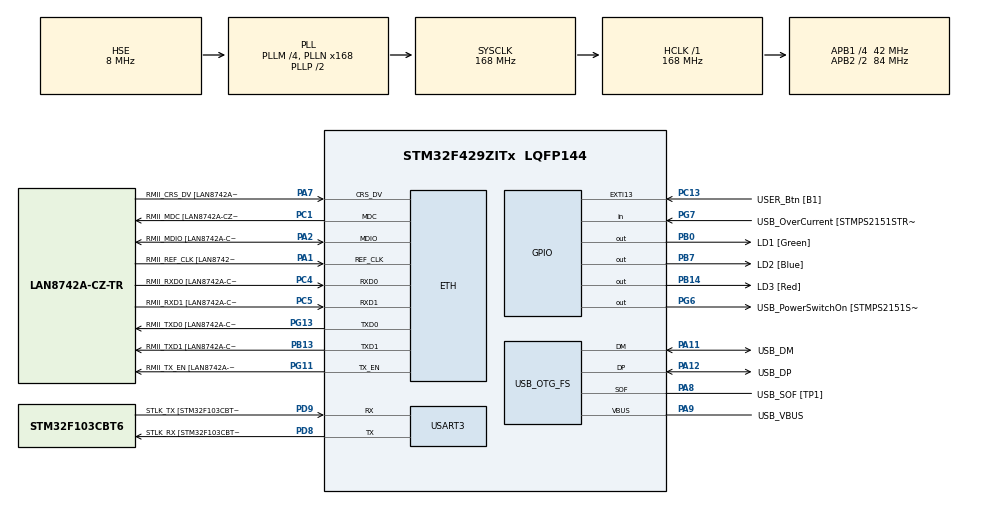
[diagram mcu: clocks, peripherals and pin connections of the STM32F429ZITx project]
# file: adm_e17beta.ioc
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ETH.MediaInterface=HAL_ETH_RMII_MODE
ETH.PHY_Name=LAN8742A_PHY_ADDRESS
ETH.PHY_Value=0
ETH.PhyAddress=0
Mcu.Family=STM32F4
Mcu.Name=STM32F429ZITx
Mcu.Package=LQFP144
NVIC.PriorityGroup=NVIC_PRIORITYGROUP_4
PA1.GPIO_Label=RMII_REF_CLK [LAN8742A-CZ-TR_REFCLK0]
PA1.Mode=RMII
PA1.Signal=ETH_REF_CLK
PA10.GPIO_Label=USB_ID
PA10.Signal=USB_OTG_FS_ID
PA11.GPIO_Label=USB_DM
PA11.Mode=Device_Only
PA11.Signal=USB_OTG_FS_DM
PA12.GPIO_Label=USB_DP
PA12.Mode=Device_Only
PA12.Signal=USB_OTG_FS_DP
PA13.GPIO_Label=TMS
PA13.Mode=Serial_Wire
PA13.Signal=SYS_JTMS-SWDIO
PA14.GPIO_Label=TCK
PA14.Mode=Serial_Wire
PA14.Signal=SYS_JTCK-SWCLK
PA2.GPIO_Label=RMII_MDIO [LAN8742A-CZ-TR_MDIO]
PA2.Mode=RMII
PA2.Signal=ETH_MDIO
PA7.GPIO_Label=RMII_CRS_DV [LAN8742A-CZ-TR_CRS_DV]
PA7.Mode=RMII
PA7.Signal=ETH_CRS_DV
PA8.GPIO_Label=USB_SOF [TP1]
PA8.Mode=Activate_SOF_FS
PA8.Signal=USB_OTG_FS_SOF
PA9.GPIO_Label=USB_VBUS
PA9.Mode=Activate_VBUS
PA9.Signal=USB_OTG_FS_VBUS
PB0.GPIO_Label=LD1 [Green]
PB0.Signal=GPIO_Output
PB13.GPIO_Label=RMII_TXD1 [LAN8742A-CZ-TR_TXD1]
PB13.Mode=RMII
PB13.Signal=ETH_TXD1
PB14.GPIO_Label=LD3 [Red]
PB14.Signal=GPIO_Output
PB7.GPIO_Label=LD2 [Blue]
PB7.Signal=GPIO_Output
PC1.GPIO_Label=RMII_MDC [LAN8742A-CZ-TR_MDC]
PC1.Mode=RMII
PC1.Signal=ETH_MDC
PC13.GPIO_Label=USER_Btn [B1]
PC13.Signal=GPXTI13
PC14/OSC32_IN.Mode=LSE-External-Oscillator
PC14/OSC32_IN.Signal=RCC_OSC32_IN
PC15/OSC32_OUT.Mode=LSE-External-Oscillator
PC15/OSC32_OUT.Signal=RCC_OSC32_OUT
PC4.GPIO_Label=RMII_RXD0 [LAN8742A-CZ-TR_RXD0]
PC4.Mode=RMII
PC4.Signal=ETH_RXD0
PC5.GPIO_Label=RMII_RXD1 [LAN8742A-CZ-TR_RXD1]
PC5.Mode=RMII
PC5.Signal=ETH_RXD1
PD8.GPIO_Label=STLK_RX [STM32F103CBT6_PA3]
PD8.Mode=Asynchronous
PD8.Signal=USART3_TX
PD9.GPIO_Label=STLK_TX [STM32F103CBT6_PA2]
PD9.Mode=Asynchronous
PD9.Signal=USART3_RX
PG11.GPIO_Label=RMII_TX_EN [LAN8742A-CZ-TR_TXEN]
PG11.Mode=RMII
PG11.Signal=ETH_TX_EN
PG13.GPIO_Label=RMII_TXD0 [LAN8742A-CZ-TR_TXD0]
PG13.Mode=RMII
PG13.Signal=ETH_TXD0
PG6.GPIO_Label=USB_PowerSwitchOn [STMPS2151STR_EN]
PG6.Signal=GPIO_Output
PG7.GPIO_Label=USB_OverCurrent [STMPS2151STR_FAULT]
PG7.Signal=GPIO_Input
PH0/OSC_IN.GPIO_Label=MCO [STM32F103CBT6_PA8]
PH0/OSC_IN.Mode=HSE-External-Clock-Source
PH0/OSC_IN.Signal=RCC_OSC_IN
PH1/OSC_OUT.Mode=HSE-External-Clock-Source
PH1/OSC_OUT.Signal=RCC_OSC_OUT
ProjectManager.HeapSize=0x200
ProjectManager.StackSize=0x400
ProjectManager.TargetToolchain=STM32CubeIDE
RCC.48MHZClocksFreq_Value=48000000
RCC.AHBFreq_Value=168000000
RCC.APB1CLKDivider=RCC_HCLK_DIV4
RCC.APB1Freq_Value=42000000
RCC.APB1TimFreq_Value=84000000
RCC.APB2CLKDivider=RCC_HCLK_DIV2
RCC.APB2Freq_Value=84000000
RCC.APB2TimCLKDivider=2
RCC.APB2TimFreq_Value=168000000
RCC.CortexFreq_Value=168000000
RCC.HCLKFreq_Value=168000000
RCC.HSE_VALUE=8000000
RCC.HSI_VALUE=16000000
RCC.PLLM=4
RCC.PLLMUL=RCC_PLL_MUL9
RCC.PLLN=168
RCC.PLLQ=7
RCC.PRESCALERUSB=RCC_USBCLKSOURCE_PLL_DIV1_5
RCC.SYSCLKFreq_VALUE=168000000
RCC.SYSCLKSource=RCC_SYSCLKSOURCE_PLLCLK
RCC.SYSCLKSourceVirtual=RCC_SYSCLKSOURCE_PLLCLK
RCC.USBFreq_Value=48000000
RCC.VCOOutputFreq_Value=336000000
USART3.VirtualMode=VM_ASYNC
USB_OTG_FS.VirtualMode=Device_Only
board=NUCLEO-F429ZI

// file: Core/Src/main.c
/* USER CODE BEGIN Header */
/**
  ******************************************************************************
  * @file           : main.c
  * @brief          : Main program body
  ******************************************************************************
  * @attention
  *
  * Copyright (c) 2022 STMicroelectronics.
  * All rights reserved.
  *
  * This software is licensed under terms that can be found in the LICENSE file
  * in the root directory of this software component.
  * If no LICENSE file comes with this software, it is provided AS-IS.
  *
  ******************************************************************************
  */
/* USER CODE END Header */
#include "main.h"
#include "string.h"

/* USER CODE BEGIN Includes */
#include "asm_func.h"
/* USER CODE END Includes */

ETH_TxPacketConfig TxConfig;
ETH_DMADescTypeDef  DMARxDscrTab[ETH_RX_DESC_CNT]; /* Ethernet Rx DMA Descriptors */
ETH_DMADescTypeDef  DMATxDscrTab[ETH_TX_DESC_CNT]; /* Ethernet Tx DMA Descriptors */

 ETH_HandleTypeDef heth;

UART_HandleTypeDef huart3;

PCD_HandleTypeDef hpcd_USB_OTG_FS;

void SystemClock_Config(void);
static void MX_GPIO_Init(void);
static void MX_ETH_Init(void);
static void MX_USART3_UART_Init(void);
static void MX_USB_OTG_FS_PCD_Init(void);

/* USER CODE BEGIN 0 */
static void PrivilegiosSVC (void)
{
    // Obtiene valor del registro de 32 bits del procesador llamado "control".
    // El registro guarda los siguientes estados:
    // bit 2: Uso de FPU en el contexto actual. Usado=1, no usado=0.
    // bit 1: Mapeo del stack pointer(sp). MSP=0, PSP=1.
    // bit 0: Modo de ejecucion en Thread. Privilegiado=0, No privilegiado=1.
    //        Recordar que este valor solo se usa en modo Thread. Las
    //        interrupciones siempre se ejecutan en modo Handler con total
    //        privilegio.
    uint32_t x = __get_CONTROL ();

    // Actividad de debug: Ver registro "control" y valor de variable "x".
    //__BKPT (0);

    x |= 1;
    // bit 0 a modo No privilegiado.
    __set_CONTROL (x);

    // En este punto se estaria ejecutando en modo No privilegiado.
    // Lectura del registro "control" para confirmar.
    x = __get_CONTROL ();

    // Actividad de debug: Ver registro "control" y valor de variable "x".
    //__BKPT (0);

    x &= ~1u;
    // Se intenta volver a modo Privilegiado (bit 0, valor 0).
    __set_CONTROL (x);

    // Confirma que esta operacion es ignorada por estar ejecutandose en modo
    // Thread no privilegiado.
    x = __get_CONTROL ();

    // Actividad de debug: Ver registro "control" y valor de variable "x".
    //__BKPT (0);

    // En este punto, ejecutando en modo Thread no privilegiado, la unica forma
    // de volver a modo privilegiado o de realizar cualquier cambio que requiera
    // modo privilegiado, es pidiendo ese servicio a un hipotetico sistema
    // opertivo de tiempo real.
    // Para esto se invoca por software a la interrupcion SVC (Supervisor Call)
    // utilizando la instruccion "svc".
    // No hay intrinsics para realizar esta tarea. Para utilizar la instruccion
    // es necesario implementar una funcion en assembler. Ver el archivo
    // asm_func.S.
    asm_svc ();

    // El sistema operativo (el handler de SVC) deberia haber devuelto el modo
    // de ejecucion de Thread a privilegiado (bit 0 en valor 0).
    x = __get_CONTROL ();

    // Fin del ejemplo de SVC
}
/* USER CODE END 0 */

int main(void)
{

  /* MCU Configuration--------------------------------------------------------*/

  /* Reset of all peripherals, Initializes the Flash interface and the Systick. */
  HAL_Init();

  /* Configure the system clock */
  SystemClock_Config();

  /* Initialize all configured peripherals */
  MX_GPIO_Init();
  MX_ETH_Init();
  MX_USART3_UART_Init();
  MX_USB_OTG_FS_PCD_Init();
  /* USER CODE BEGIN 2 */
  PrivilegiosSVC ();

  #if (EJERCICIO_1 == 1 || EJERCICIO_2 == 1 || EJERCICIO_3 == 1 || EJERCICIO_4 == 1)
	//Variables ejercicios 1,2,3 y 4
	uint32_t vector32Zeros[] ={9,7,5};
	uint32_t vector32In[] ={3,4,0xAB123456};
	uint32_t vector32Out[]={0,0,0};
	//uint16_t vector16In[] ={0x0100,0x4000,0xAB12};
	uint16_t vector16In[] ={3,4,0xAB12};
	uint16_t vector16Out[]={0,0,0};
	uint32_t escalar32 = 4;
	uint16_t escalar16 = 4;
  #endif

  #if (EJERCICIO_0 == 1)
	const uint32_t Resultado = asm_sum (5, 3);
  #endif

  #if (EJERCICIO_1 == 1)
	//Ejercicio 1
	//Realizar una función que inicialice un vector con ceros.
	//Ejercicio en C
	zeros (vector32Zeros, (sizeof(vector32Zeros)/sizeof(vector32Zeros[0])));
	//Ejercicio en Assembly
	vector32Zeros[0] =8;
	vector32Zeros[1] =16;
	vector32Zeros[2] =32;
	asm_zeros (vector32Zeros, (sizeof(vector32Zeros)/sizeof(vector32Zeros[0])));
  #endif

  #if (EJERCICIO_2 == 1)
	//Ejercicio 2
	//Realizar una función que realice el producto de un vector y un escalar
	//(por ejemplo, podría servir para cambiar el nivel de amplitud de una señal).
	//Ejercicio en C
	vector32Out[0] =0;
	vector32Out[1] =0;
	vector32Out[2] =0;
	productoEscalar32 (vector32In, vector32Out, (sizeof(vector32In)/sizeof(vector32In[0])), escalar32);
	//Ejercicio en Assembly
	vector32Out[0] =0;
	vector32Out[1] =0;
	vector32Out[2] =0;
	asm_productoEscalar32 (vector32In, vector32Out, (sizeof(vector32In)/sizeof(vector32In[0])), escalar32);
  #endif

  #if (EJERCICIO_3 == 1)
	//Ejercicio 3
	//Adapte la función del ejercicio 2 para realizar operaciones sobre vectores de 16 bits
	//Ejercicio  en C
	vector16Out[0] =0;
	vector16Out[1] =0;
	vector16Out[2] =0;
	productoEscalar16 (vector16In, vector16Out, (sizeof(vector16In)/sizeof(vector16In[0])), escalar16);
	//Ejercicio en Assembly
	vector16Out[0] =0;
	vector16Out[1] =0;
	vector16Out[2] =0;
	asm_productoEscalar16 (vector16In, vector16Out, (sizeof(vector16In)/sizeof(vector16In[0])), escalar16);
  #endif

  #if (EJERCICIO_4 == 1)
	//Ejercicio 4
	//Adapte la función del ejercicio 3 para saturar el resultado del producto a 12 bits
	//Ejercicio en C
	vector16Out[0] =0;
	vector16Out[1] =0;
	vector16Out[2] =0;
	productoEscalar12 (vector16In, vector16Out, (sizeof(vector16In)/sizeof(vector16In[0])), escalar16);
	//Ejercicio en Assembly
	vector16Out[0] =0;
	vector16Out[1] =0;
	vector16Out[2] =0;
	asm_productoEscalar12 (vector16In, vector16Out, (sizeof(vector16In)/sizeof(vector16In[0])), escalar16);
  #endif

  #if (EJERCICIO_5 == 1)
	//Ejercicio 5
	//Un filtro de ventana móvil de 10 valores sobre un vector de muestras.
	//Ejercicio en C
	uint16_t vectorIn_5[] = {1,1,1,1,1,1,1,1,1,2,2,2,2,2,3,3,3,3,3,100,100,100,0,0,0,0,5,5,5,5};
	uint16_t vectorOut_5[] = {0,0,0,0,0,0,0,0,0,0 , 0,0,0,0,0,0,0,0,0,0  , 0,0,0,0,0,0,0,0,0,0};
	uint16_t vectorOut_5_asm[] = {0,0,0,0,0,0,0,0,0,0 , 0,0,0,0,0,0,0,0,0,0  , 0,0,0,0,0,0,0,0,0,0};
	filtroVentana10(vectorIn_5, vectorOut_5, (sizeof(vectorIn_5)/sizeof(vectorIn_5[0])));
	//Ejercicio en Assembly
	asm_filtroVentana10(vectorIn_5, vectorOut_5_asm, (sizeof(vectorIn_5)/sizeof(vectorIn_5[0])));
  #endif

  #if (EJERCICIO_6 == 1)
	//Ejercicio 6
	//Recibe un vector de números signados de 32 bits y los “empaqueta” en
	//otro vector de 16 bits. Adecua los valores de entrada a la nueva precisión.
	//Ejercicio en C
	int32_t vectorIn_6[] = {0x12345678,0x0080FFFF, 0x80000000, 0xFFFFFFFF};
	int16_t vectorOut_6[] = {0x0000,0x0000, 0x0000, 0x0000};
	pack32to16 (vectorIn_6, vectorOut_6, (sizeof(vectorIn_6)/sizeof(vectorIn_6[0])));
	//Ejercicio en Assembly
	vectorOut_6[0] = 0x0000;
	vectorOut_6[1] = 0x0000;
	vectorOut_6[2] = 0x0000;
	vectorOut_6[3] = 0x0000;
	asm_pack32to16 (vectorIn_6, vectorOut_6, (sizeof(vectorIn_6)/sizeof(vectorIn_6[0])));
  #endif

  #if (EJERCICIO_7 == 1)
	//Ejercicio 7
	//Recibe un vector de números signados de 32 bits y devuelve la posición
	//del máximo del vector.
	//Ejercicio en C
	int32_t vectorIn_7[] = {4,2,1,5,6,2,3,2,3,2,1};
	int32_t ind_maximo_7;
	ind_maximo_7 = max(vectorIn_7, (sizeof(vectorIn_7)/sizeof(vectorIn_7[0])));
	//Ejercicio en Assembly
	ind_maximo_7 = 0;
	ind_maximo_7 = asm_max(vectorIn_7, (sizeof(vectorIn_7)/sizeof(vectorIn_7[0])));
  #endif

  #if (EJERCICIO_8 == 1)
	//Ejercicio 8
	//Recibe un vector de muestras signadas de 32 bits y lo decime
	//descartando una cada N muestras.
	//Ejercicio en C
	int32_t vectorIn_8[] = {1,0,0,2,0,0,3,0,0,4,0,0,5,0,0,6,0,0,7,0,0,8,0,0,9,0,0,10,0,0,11};
	int32_t vectorOut_8[] = {0,0,0,0,0,0,0,0,0,0 , 0,0,0,0,0,0,0,0,0,0  , 0,0,0,0,0,0,0,0,0,0};
	int32_t vectorOut_8_asm[] = {0,0,0,0,0,0,0,0,0,0 , 0,0,0,0,0,0,0,0,0,0  , 0,0,0,0,0,0,0,0,0,0};
	downsampleM (vectorIn_8, vectorOut_8, (sizeof(vectorIn_8)/sizeof(vectorIn_8[0])), 3);
	//Ejercicio en Assembly
	asm_downsampleM (vectorIn_8, vectorOut_8_asm, (sizeof(vectorIn_8)/sizeof(vectorIn_8[0])), 3);
  #endif

  #if (EJERCICIO_9 == 1)
	//Ejercicio 9
	//Recibe un vector de muestras no signadas de 16 bits e invierte su orden.
	//Ejercicio en C
	uint16_t vectorIn_9[] = {0,1,2,3,4,5,6,7,8,9,10,11,12,13};
	invertir (vectorIn_9, (sizeof(vectorIn_9)/sizeof(vectorIn_9[0])));
	//Ejercicio en Assembly
	asm_invertir (vectorIn_9, (sizeof(vectorIn_9)/sizeof(vectorIn_9[0])));
  #endif

  #if (EJERCICIO_11 == 1)
	//Ejercicio 11
	//Calcula la correlación entre dos vectores.

	int16_t vectorX[] = {1,2,3,4,5,6,7,8};
	int16_t vectorY[] = {1,2,3,4,1,2,3,4};

	uint32_t longitud = (sizeof(vectorX)/sizeof(vectorX[0]));

	//Ejercicio en C
	int16_t vectorCorr[] = {0,0,0,0,0,0,0,0,0,0,0,0,0,0,0,0,0};
	corr (vectorX, vectorY, vectorCorr, longitud);
	//Ejercicio en Assembly
	int16_t vectorCorr_asm[] = {0,0,0,0,0,0,0,0,0,0,0,0,0,0,0,0,0};
	asm_corr (vectorX, vectorY, vectorCorr_asm, longitud);
	//Se me complico su version con SIMD en Assembly
	/*****************************/
	/*****************************/

	//Nueva version, con preproceso, por ahora solo longitud PAR!!!!!
	int16_t vectorY_inv[] = {1,2,3,4,1,2,3,4};
	//Asumo que VectorX, VectorY tienen la misma longitud
	//Creo un nuevo vector de (3N - 2) con la señal Y dada vuelta, centrada y completada con ceros
	int16_t vectorY_acon[3*longitud-2];
	zeros (vectorY_acon, 3*longitud-2);
	invertir (vectorY_inv, longitud);
	//Acondiciono
	for (uint32_t i=0; i<longitud;i++){
		vectorY_acon[i+longitud-1] = vectorY_inv[i];
	}

	//Ejercicio bis en C
	int16_t vectorCorr_bis[] = {0,0,0,0,0,0,0,0,0,0,0,0,0,0,0,0,0};
	corr_bis (vectorX, vectorY_acon, vectorCorr_bis, longitud);

	//Ejercicio bis en Assembly
	int16_t vectorCorr_bis_asm[] = {0,0,0,0,0,0,0,0,0,0,0,0,0,0,0,0,0};
	asm_corr_bis (vectorX, vectorY_acon, vectorCorr_bis_asm, longitud);

	//Ejercicio bis en Assembly con SIMD
	int16_t vectorCorr_bis_SIMD[] = {0,0,0,0,0,0,0,0,0,0,0,0,0,0,0,0,0};
	asm_corr_SIMD (vectorX, vectorY_acon, vectorCorr_bis_SIMD, longitud);
  #endif

  /* USER CODE END 2 */

  /* Infinite loop */
  while (1)
  {

  }
}

void SystemClock_Config(void)
{
  RCC_OscInitTypeDef RCC_OscInitStruct = {0};
  RCC_ClkInitTypeDef RCC_ClkInitStruct = {0};

  /** Configure the main internal regulator output voltage
  */
  __HAL_RCC_PWR_CLK_ENABLE();
  __HAL_PWR_VOLTAGESCALING_CONFIG(PWR_REGULATOR_VOLTAGE_SCALE1);

  /** Initializes the RCC Oscillators according to the specified parameters
  * in the RCC_OscInitTypeDef structure.
  */
  RCC_OscInitStruct.OscillatorType = RCC_OSCILLATORTYPE_HSE;
  RCC_OscInitStruct.HSEState = RCC_HSE_BYPASS;
  RCC_OscInitStruct.PLL.PLLState = RCC_PLL_ON;
  RCC_OscInitStruct.PLL.PLLSource = RCC_PLLSOURCE_HSE;
  RCC_OscInitStruct.PLL.PLLM = 4;
  RCC_OscInitStruct.PLL.PLLN = 168;
  RCC_OscInitStruct.PLL.PLLP = RCC_PLLP_DIV2;
  RCC_OscInitStruct.PLL.PLLQ = 7;
  if (HAL_RCC_OscConfig(&RCC_OscInitStruct) != HAL_OK)
  {
    Error_Handler();
  }

  /** Initializes the CPU, AHB and APB buses clocks
  */
  RCC_ClkInitStruct.ClockType = RCC_CLOCKTYPE_HCLK|RCC_CLOCKTYPE_SYSCLK
                              |RCC_CLOCKTYPE_PCLK1|RCC_CLOCKTYPE_PCLK2;
  RCC_ClkInitStruct.SYSCLKSource = RCC_SYSCLKSOURCE_PLLCLK;
  RCC_ClkInitStruct.AHBCLKDivider = RCC_SYSCLK_DIV1;
  RCC_ClkInitStruct.APB1CLKDivider = RCC_HCLK_DIV4;
  RCC_ClkInitStruct.APB2CLKDivider = RCC_HCLK_DIV2;

  if (HAL_RCC_ClockConfig(&RCC_ClkInitStruct, FLASH_LATENCY_5) != HAL_OK)
  {
    Error_Handler();
  }
}

static void MX_ETH_Init(void)
{

   static uint8_t MACAddr[6];

  heth.Instance = ETH;
  MACAddr[0] = 0x00;
  MACAddr[1] = 0x80;
  MACAddr[2] = 0xE1;
  MACAddr[3] = 0x00;
  MACAddr[4] = 0x00;
  MACAddr[5] = 0x00;
  heth.Init.MACAddr = &MACAddr[0];
  heth.Init.MediaInterface = HAL_ETH_RMII_MODE;
  heth.Init.TxDesc = DMATxDscrTab;
  heth.Init.RxDesc = DMARxDscrTab;
  heth.Init.RxBuffLen = 1524;

  if (HAL_ETH_Init(&heth) != HAL_OK)
  {
    Error_Handler();
  }

  memset(&TxConfig, 0 , sizeof(ETH_TxPacketConfig));
  TxConfig.Attributes = ETH_TX_PACKETS_FEATURES_CSUM | ETH_TX_PACKETS_FEATURES_CRCPAD;
  TxConfig.ChecksumCtrl = ETH_CHECKSUM_IPHDR_PAYLOAD_INSERT_PHDR_CALC;
  TxConfig.CRCPadCtrl = ETH_CRC_PAD_INSERT;

}

static void MX_USART3_UART_Init(void)
{

  huart3.Instance = USART3;
  huart3.Init.BaudRate = 115200;
  huart3.Init.WordLength = UART_WORDLENGTH_8B;
  huart3.Init.StopBits = UART_STOPBITS_1;
  huart3.Init.Parity = UART_PARITY_NONE;
  huart3.Init.Mode = UART_MODE_TX_RX;
  huart3.Init.HwFlowCtl = UART_HWCONTROL_NONE;
  huart3.Init.OverSampling = UART_OVERSAMPLING_16;
  if (HAL_UART_Init(&huart3) != HAL_OK)
  {
    Error_Handler();
  }

}

static void MX_USB_OTG_FS_PCD_Init(void)
{

  hpcd_USB_OTG_FS.Instance = USB_OTG_FS;
  hpcd_USB_OTG_FS.Init.dev_endpoints = 4;
  hpcd_USB_OTG_FS.Init.speed = PCD_SPEED_FULL;
  hpcd_USB_OTG_FS.Init.dma_enable = DISABLE;
  hpcd_USB_OTG_FS.Init.phy_itface = PCD_PHY_EMBEDDED;
  hpcd_USB_OTG_FS.Init.Sof_enable = ENABLE;
  hpcd_USB_OTG_FS.Init.low_power_enable = DISABLE;
  hpcd_USB_OTG_FS.Init.lpm_enable = DISABLE;
  hpcd_USB_OTG_FS.Init.vbus_sensing_enable = ENABLE;
  hpcd_USB_OTG_FS.Init.use_dedicated_ep1 = DISABLE;
  if (HAL_PCD_Init(&hpcd_USB_OTG_FS) != HAL_OK)
  {
    Error_Handler();
  }

}

static void MX_GPIO_Init(void)
{
  GPIO_InitTypeDef GPIO_InitStruct = {0};

  /* GPIO Ports Clock Enable */
  __HAL_RCC_GPIOC_CLK_ENABLE();
  __HAL_RCC_GPIOH_CLK_ENABLE();
  __HAL_RCC_GPIOA_CLK_ENABLE();
  __HAL_RCC_GPIOB_CLK_ENABLE();
  __HAL_RCC_GPIOD_CLK_ENABLE();
  __HAL_RCC_GPIOG_CLK_ENABLE();

  /*Configure GPIO pin Output Level */
  HAL_GPIO_WritePin(GPIOB, LD1_Pin|LD3_Pin|LD2_Pin, GPIO_PIN_RESET);

  /*Configure GPIO pin Output Level */
  HAL_GPIO_WritePin(USB_PowerSwitchOn_GPIO_Port, USB_PowerSwitchOn_Pin, GPIO_PIN_RESET);

  /*Configure GPIO pin : USER_Btn_Pin */
  GPIO_InitStruct.Pin = USER_Btn_Pin;
  GPIO_InitStruct.Mode = GPIO_MODE_IT_RISING;
  GPIO_InitStruct.Pull = GPIO_NOPULL;
  HAL_GPIO_Init(USER_Btn_GPIO_Port, &GPIO_InitStruct);

  /*Configure GPIO pins : LD1_Pin LD3_Pin LD2_Pin */
  GPIO_InitStruct.Pin = LD1_Pin|LD3_Pin|LD2_Pin;
  GPIO_InitStruct.Mode = GPIO_MODE_OUTPUT_PP;
  GPIO_InitStruct.Pull = GPIO_NOPULL;
  GPIO_InitStruct.Speed = GPIO_SPEED_FREQ_LOW;
  HAL_GPIO_Init(GPIOB, &GPIO_InitStruct);

  /*Configure GPIO pin : USB_PowerSwitchOn_Pin */
  GPIO_InitStruct.Pin = USB_PowerSwitchOn_Pin;
  GPIO_InitStruct.Mode = GPIO_MODE_OUTPUT_PP;
  GPIO_InitStruct.Pull = GPIO_NOPULL;
  GPIO_InitStruct.Speed = GPIO_SPEED_FREQ_LOW;
  HAL_GPIO_Init(USB_PowerSwitchOn_GPIO_Port, &GPIO_InitStruct);

  /*Configure GPIO pin : USB_OverCurrent_Pin */
  GPIO_InitStruct.Pin = USB_OverCurrent_Pin;
  GPIO_InitStruct.Mode = GPIO_MODE_INPUT;
  GPIO_InitStruct.Pull = GPIO_NOPULL;
  HAL_GPIO_Init(USB_OverCurrent_GPIO_Port, &GPIO_InitStruct);

}

void Error_Handler(void)
{
  __disable_irq();
  while (1)
  {
  }
}
